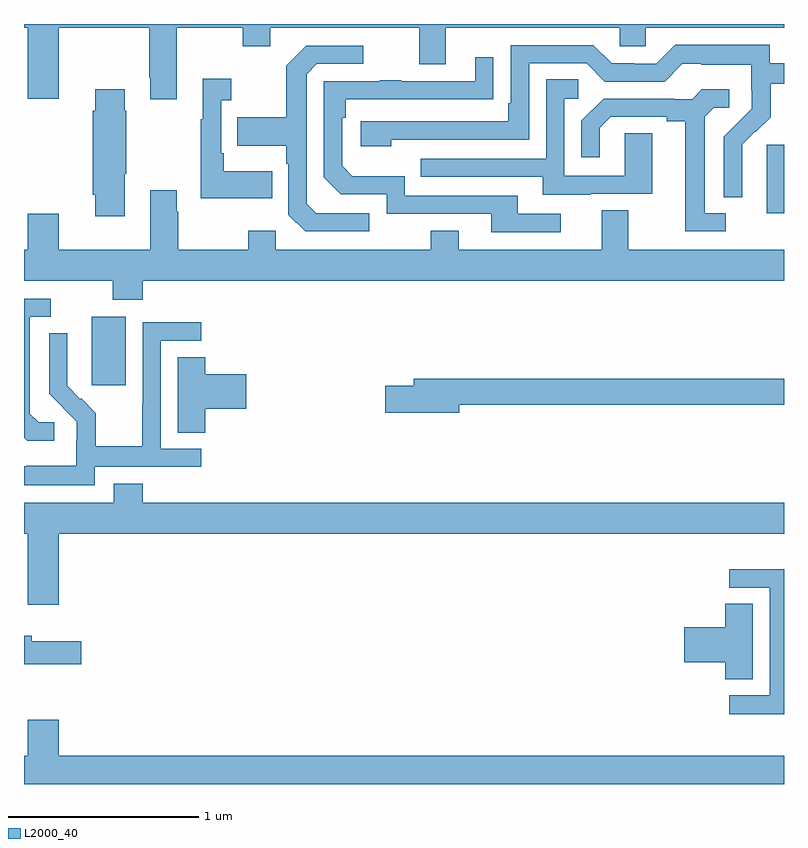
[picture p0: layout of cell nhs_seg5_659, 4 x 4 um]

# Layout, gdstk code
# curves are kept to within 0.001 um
import gdstk
lib = gdstk.Library(unit=1e-6, precision=1e-09)
def R(c, l, rs):  # rectangles x0, y0, x1, y1
    for r in rs: c.add(gdstk.rectangle(r[:2], r[2:], *l))
def P(c, l, *ps):  # polygons
    for p in ps: c.add(gdstk.Polygon(p, *l))
L2000_40 = (2000, 40)

nhs_seg5_659 = lib.new_cell('nhs_seg5_659')
R(nhs_seg5_659, L2000_40, [(153.356,834.897,153.535,835.258), (156.908,835.802,157,836.163)])
P(nhs_seg5_659, L2000_40, [(153.805,836.78),(154.15,836.78),(154.15,836.681),(154.297,836.681),(154.297,836.78),(155.081,836.78),(155.081,836.586),(155.221,836.586),(155.221,836.78),(156.135,836.78),(156.135,836.682),(156.273,836.682),(156.273,836.78),(157,836.78),(157,836.799),(153,836.799),(153,836.78),(153.02,836.78),(153.02,836.406),(153.184,836.406),(153.184,836.78),(153.658,836.78),(153.658,836.515),(153.665,836.515),(153.665,836.403),(153.805,836.403)],
  [(156.78,836.042),(156.779,836.165),(156.849,836.235),(156.852,836.232),(156.929,836.309),(156.929,836.484),(157,836.484),(157,836.592),(156.924,836.592),(156.924,836.689),(156.427,836.689),(156.327,836.589),(156.212,836.589),(156.212,836.592),(156.093,836.592),(155.997,836.688),(155.562,836.688),(155.562,836.383),(155.549,836.383),(155.549,836.286),(154.773,836.286),(154.773,836.156),(154.934,836.156),(154.934,836.19),(155.658,836.19),(155.658,836.592),(155.961,836.592),(156.057,836.496),(156.372,836.496),(156.465,836.589),(156.565,836.589),(156.565,836.585),(156.828,836.585),(156.828,836.451),(156.83,836.451),(156.83,836.354),(156.684,836.206),(156.684,835.888),(156.78,835.888)],
  [(154.816,835.803),(154.539,835.803),(154.488,835.854),(154.488,836.535),(154.542,836.589),(154.786,836.589),(154.786,836.685),(154.485,836.685),(154.38,836.579),(154.38,836.307),(154.123,836.307),(154.123,836.159),(154.38,836.159),(154.38,836.063),(154.392,836.063),(154.392,835.794),(154.479,835.707),(154.816,835.707)],
  [(155.824,835.8),(155.599,835.8),(155.599,835.896),(155.004,835.896),(155.004,835.999),(154.727,835.999),(154.674,836.052),(154.674,836.306),(154.694,836.306),(154.694,836.403),(155.471,836.404),(155.471,836.623),(155.375,836.623),(155.375,836.499),(154.985,836.499),(154.985,836.504),(154.873,836.504),(154.873,836.499),(154.578,836.499),(154.578,835.992),(154.668,835.902),(154.908,835.902),(154.908,835.8),(155.459,835.8),(155.459,835.704),(155.824,835.704)],
  [(154.307,836.023),(154.051,836.023),(154.051,836.119),(154.038,836.119),(154.038,836.399),(154.09,836.399),(154.09,836.512),(153.941,836.512),(153.941,836.299),(153.93,836.299),(153.93,835.883),(154.307,835.883)],
  [(155.983,835.905),(156.307,835.905),(156.307,836.225),(156.162,836.225),(156.162,836.001),(155.844,836.001),(155.844,836.406),(155.917,836.406),(155.917,836.507),(155.748,836.507),(155.748,836.091),(155.089,836.091),(155.089,835.995),(155.729,835.995),(155.729,835.901),(155.983,835.901)],
  [(153.529,836.011),(153.537,836.011),(153.537,836.342),(153.529,836.342),(153.529,836.455),(153.374,836.455),(153.374,836.342),(153.362,836.342),(153.362,835.9),(153.374,835.9),(153.374,835.788),(153.529,835.788)],
  [(156.694,835.803),(156.583,835.803),(156.583,836.311),(156.63,836.358),(156.712,836.358),(156.712,836.455),(156.568,836.455),(156.516,836.403),(156.422,836.403),(156.422,836.406),(156.05,836.406),(155.934,836.29),(155.934,836.097),(156.031,836.097),(156.031,836.253),(156.088,836.31),(156.383,836.31),(156.383,836.288),(156.479,836.288),(156.479,835.707),(156.694,835.707)],
  [(153.626,835.448),(157,835.448),(157,835.612),(156.181,835.612),(156.181,835.82),(156.041,835.82),(156.041,835.612),(155.287,835.612),(155.287,835.711),(155.14,835.711),(155.14,835.612),(154.326,835.612),(154.326,835.711),(154.18,835.711),(154.18,835.612),(153.813,835.612),(153.813,835.811),(153.805,835.811),(153.805,835.924),(153.665,835.924),(153.665,835.612),(153.184,835.612),(153.184,835.801),(153.02,835.801),(153.02,835.612),(153,835.612),(153,835.448),(153.466,835.448),(153.466,835.349),(153.626,835.349)],
  [(153.16,834.702),(153.078,834.702),(153.031,834.749),(153.031,835.257),(153.142,835.257),(153.142,835.353),(153,835.353),(153,834.621),(153.016,834.605),(153.16,834.605)],
  [(153.372,834.468),(153.934,834.468),(153.934,834.564),(153.72,834.564),(153.72,835.131),(153.934,835.131),(153.934,835.23),(153.624,835.23),(153.624,834.8),(153.622,834.8),(153.622,834.577),(153.377,834.577),(153.377,834.751),(153.3,834.828),(153.297,834.825),(153.227,834.896),(153.228,835.172),(153.132,835.172),(153.132,834.854),(153.278,834.706),(153.278,834.609),(153.276,834.609),(153.276,834.475),(153.013,834.475),(153.013,834.471),(153,834.471),(153,834.371),(153.372,834.371)],
  [(153.953,834.773),(154.171,834.773),(154.171,834.956),(153.953,834.956),(153.953,835.046),(153.809,835.046),(153.809,834.649),(153.953,834.649)],
  [(155.29,834.796),(157,834.796),(157,834.932),(155.051,834.932),(155.051,834.896),(154.902,834.896),(154.902,834.754),(155.29,834.754)],
  [(153.184,834.116),(157,834.116),(157,834.28),(153.626,834.28),(153.626,834.379),(153.473,834.379),(153.473,834.28),(153,834.28),(153,834.116),(153.02,834.116),(153.02,833.742),(153.184,833.742)],
  [(157,833.928),(156.711,833.928),(156.711,833.832),(156.924,833.832),(156.924,833.265),(156.711,833.265),(156.711,833.167),(157,833.167)],
  [(156.835,833.747),(156.692,833.747),(156.692,833.624),(156.474,833.624),(156.474,833.441),(156.692,833.441),(156.692,833.35),(156.835,833.35)],
  [(153.301,833.551),(153.04,833.551),(153.04,833.58),(153,833.58),(153,833.429),(153.301,833.429)],
  [(157,832.948),(153.184,832.948),(153.184,833.137),(153.02,833.137),(153.02,832.948),(153,832.948),(153,832.799),(157,832.799)])

lib.write_gds('nhs_seg5_659.gds')
